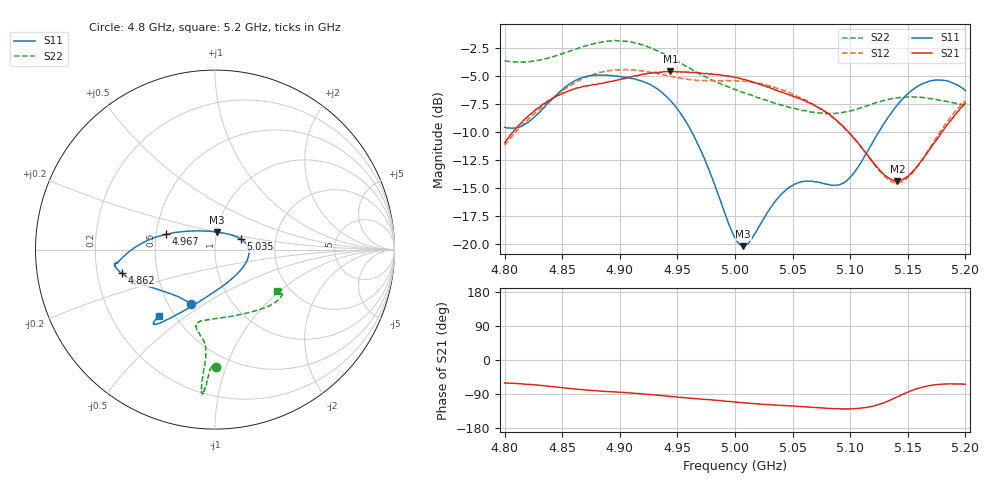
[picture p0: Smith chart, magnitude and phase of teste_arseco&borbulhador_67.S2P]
! Network Analyzer HP8722D
! Hewlett-Packard
! Data name: Linha & Wilkinson
! Saver's name: Rodrigo Anjos
! Comments: Teste da utilização de aquisição
! continua pelo VNA HP8722D
! Time and date: 15/4/2025 16:11
!  Frequency  S11  S21  S12  S22
# HZ  S  MA R 50
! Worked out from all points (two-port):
!   401 points, 4.8 GHz to 5.2 GHz, reference 50 ohm
!   highest |S21| = -4.62 dB at 4.944 GHz (marker M1); lowest = -14.4 dB at 5.141 GHz (marker M2)
!   |S21| within 3 dB of the highest: 4.832 GHz to 5.069 GHz (236.2 MHz wide, 4.77 % of centre); 5.198542 GHz to end of sweep
!   lowest |S11| = -20.2 dB at 5.007 GHz (marker M3), VSWR 1.22, Z = 50.2 + j9.85 ohm
!   |S11| at or under -10 dB: 4.962 GHz to 5.125 GHz (162.5 MHz wide, 3.22 % of centre)
!   |S22| runs from -8.4 to -1.9 dB; largest |S21 - S12| = 0.88
!   S11 on the Smith chart (normalised r, x): 4.8 GHz: 0.65, -0.44; 4.862 GHz: 0.31, -0.11; 4.967 GHz: 0.57, +0.11; 5.035 GHz: 1.32, +0.16; 5.2 GHz: 0.41, -0.40
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4.8e9  0.3314 -113.9  0.2823 -60.9  0.2755 -175.1  0.6541 -89.5
4.819e9  0.3451 -133.7  0.3654 -63.9  0.353 -173.4  0.6489 -91.3
4.862e9  0.5362 -165.7  0.4958 -76.6  0.5267 -176.5  0.7395 -93.5
4.867e9  0.5495 -167.6  0.5013 -78.1  0.5432 -177.4  0.7546 -93.7
4.898e9  0.5595 -172.2  0.5375 -84.6  0.595 176.1  0.8045 -94.9
4.934e9  0.4856 -178.1  0.5807 -93.4  0.5727 171.9  0.7187 -95.6
4.944e9  0.4354 177.4  0.5875 -96.2  0.5579 171.9  0.6778 -95.4
4.967e9  0.2843 162.5  0.5796 -102.1  0.5346 173.9  0.5811 -95.0
5e9  0.1068 106.8  0.5518 -111.1  0.534 176.5  0.4875 -99.3
5.007e9  0.09782 83.1  0.5411 -112.6  0.5302 176.3  0.4723 -100.9
5.013e9  0.1031 63.9  0.5313 -114.4  0.5265 176.1  0.4623 -102.3
5.035e9  0.1551 22.8  0.4855 -119.0  0.4969 175.0  0.4232 -103.8
5.05e9  0.1822 6.9  0.4571 -121.6  0.4646 174.4  0.4031 -100.4
5.067e9  0.1906 -11.5  0.4203 -124.7  0.4209 173.9  0.3862 -91.9
5.087e9  0.1826 -43.9  0.3593 -128.7  0.3584 173.9  0.3812 -76.9
5.097e9  0.1909 -65.0  0.3211 -129.1  0.3191 174.4  0.3884 -68.5
5.134e9  0.3739 -116.1  0.1956 -107.0  0.1921 -159.7  0.4417 -43.4
5.141e9  0.4169 -120.2  0.1905 -97.1  0.1872 -148.8  0.4476 -40.2
5.153e9  0.482 -125.1  0.2071 -81.0  0.2041 -130.2  0.4516 -35.9
5.17e9  0.5331 -128.6  0.2681 -66.9  0.2731 -113.1  0.4445 -32.1
5.184e9  0.5322 -130.0  0.3387 -63.0  0.349 -107.2  0.4313 -31.1
5.2e9  0.4824 -130.4  0.4233 -64.1  0.4346 -106.1  0.4153 -33.5
